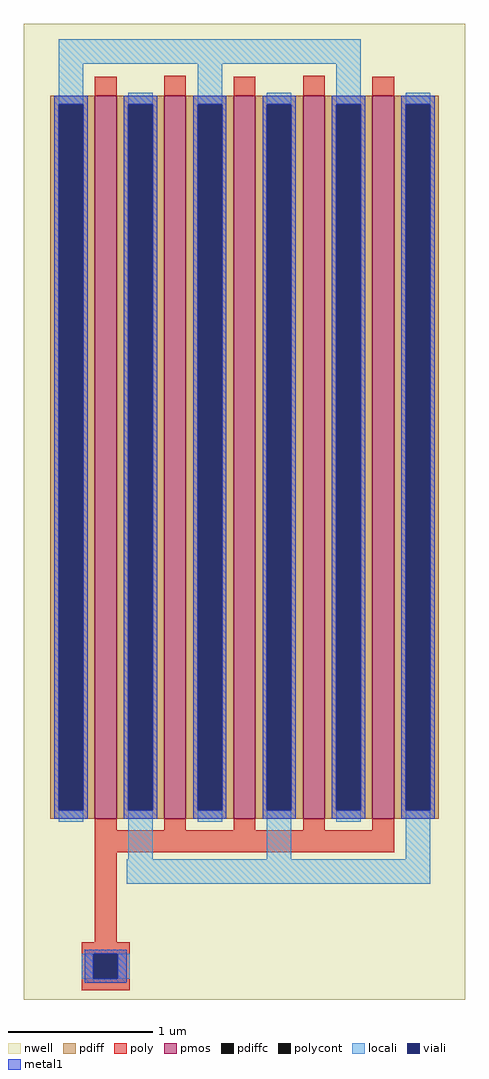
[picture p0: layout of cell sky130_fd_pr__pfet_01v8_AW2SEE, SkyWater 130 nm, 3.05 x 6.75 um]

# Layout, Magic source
magic
tech sky130A
magscale 1 2
<< nwell >>
rect -305 -750 305 600
<< pmos >>
rect -207 -500 -177 500
rect -111 -500 -81 500
rect -15 -500 15 500
rect 81 -500 111 500
rect 177 -500 207 500
<< pdiff >>
rect -269 488 -207 500
rect -269 -488 -257 488
rect -223 -488 -207 488
rect -269 -500 -207 -488
rect -177 488 -111 500
rect -177 -488 -161 488
rect -127 -488 -111 488
rect -177 -500 -111 -488
rect -81 488 -15 500
rect -81 -488 -65 488
rect -31 -488 -15 488
rect -81 -500 -15 -488
rect 15 488 81 500
rect 15 -488 31 488
rect 65 -488 81 488
rect 15 -500 81 -488
rect 111 488 177 500
rect 111 -488 127 488
rect 161 -488 177 488
rect 111 -500 177 -488
rect 207 488 269 500
rect 207 -488 223 488
rect 257 -488 269 488
rect 207 -500 269 -488
<< pdiffc >>
rect -257 -488 -223 488
rect -161 -488 -127 488
rect -65 -488 -31 488
rect 31 -488 65 488
rect 127 -488 161 488
rect 223 -488 257 488
<< poly >>
rect -207 500 -177 526
rect -111 500 -81 528
rect -15 500 15 526
rect 81 500 111 528
rect 177 500 207 526
rect -207 -516 -177 -500
rect -111 -516 -81 -500
rect -15 -516 15 -500
rect 81 -516 111 -500
rect 177 -516 207 -500
rect -207 -546 207 -516
rect -207 -671 -177 -546
rect -225 -687 -159 -671
rect -225 -721 -209 -687
rect -175 -721 -159 -687
rect -225 -737 -159 -721
<< polycont >>
rect -209 -721 -175 -687
<< locali >>
rect -257 544 161 578
rect -257 488 -223 544
rect -257 -504 -223 -488
rect -161 488 -127 504
rect -161 -556 -127 -488
rect -65 488 -31 544
rect -65 -504 -31 -488
rect 31 488 65 504
rect 31 -556 65 -488
rect 127 488 161 544
rect 127 -504 161 -488
rect 223 488 257 504
rect 223 -556 257 -488
rect -163 -590 257 -556
rect -225 -721 -209 -687
rect -175 -721 -159 -687
<< viali >>
rect -257 -488 -223 488
rect -161 -488 -127 488
rect -65 -488 -31 488
rect 31 -488 65 488
rect 127 -488 161 488
rect 223 -488 257 488
rect -209 -721 -175 -687
<< metal1 >>
rect -263 488 -217 500
rect -263 -488 -257 488
rect -223 -488 -217 488
rect -263 -500 -217 -488
rect -167 488 -121 500
rect -167 -488 -161 488
rect -127 -488 -121 488
rect -167 -500 -121 -488
rect -71 488 -25 500
rect -71 -488 -65 488
rect -31 -488 -25 488
rect -71 -500 -25 -488
rect 25 488 71 500
rect 25 -488 31 488
rect 65 -488 71 488
rect 25 -500 71 -488
rect 121 488 167 500
rect 121 -488 127 488
rect 161 -488 167 488
rect 121 -500 167 -488
rect 217 488 263 500
rect 217 -488 223 488
rect 257 -488 263 488
rect 217 -500 263 -488
rect -221 -687 -163 -681
rect -221 -721 -209 -687
rect -175 -721 -163 -687
rect -221 -727 -163 -721
<< properties >>
string gencell sky130_fd_pr__pfet_01v8
string parameters w 5 l 0.15 m 1 nf 5 diffcov 100 polycov 100 guard 0 glc 0 grc 0 gtc 0 gbc 0 tbcov 100 rlcov 100 topc 1 botc 0 poverlap 0 doverlap 1 lmin 0.15 wmin 0.42 compatible {sky130_fd_pr__pfet_01v8  sky130_fd_pr__pfet_01v8_lvt sky130_fd_pr__pfet_01v8_hvt  sky130_fd_pr__pfet_g5v0d10v5} full_metal 0 viasrc 100 viadrn 100 viagate 100 viagb 0 viagr 0 viagl 0 viagt 0
string library sky130
<< end >>
